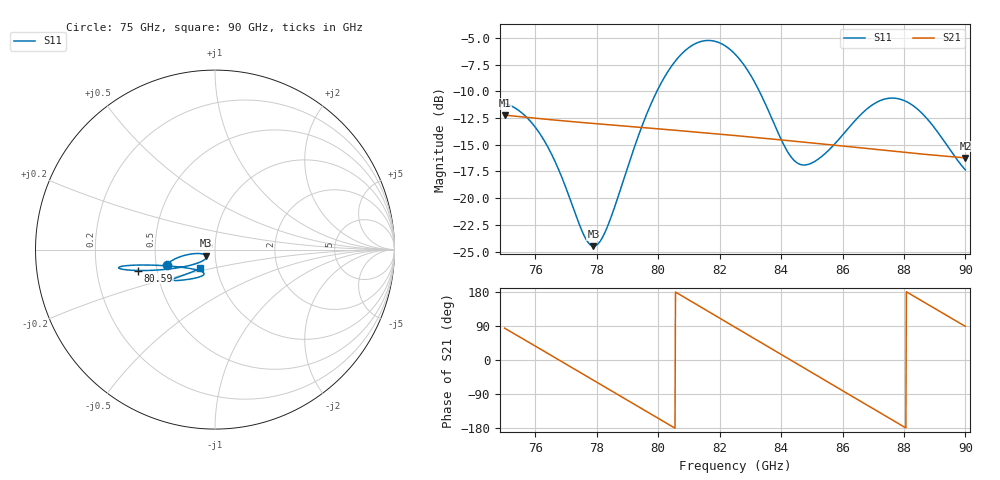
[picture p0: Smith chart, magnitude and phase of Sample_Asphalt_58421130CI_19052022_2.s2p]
!SWISSto12 MCK measurement data
!name=Sample_Asphalt_58421130CI_19052022_2
!thickness[mm]=18.000
# GHz S RI R 50.0
!freq ReS11 ImS11 ReS21 ImS21 ReS12 ImS12 ReS22 ImS22
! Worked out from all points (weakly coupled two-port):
!   961 points, 75 GHz to 90 GHz, reference 50 ohm
!   highest |S21| = -12.23 dB at 75 GHz (marker M1); lowest = -16.2 dB at 90 GHz (marker M2)
!   lowest |S11| = -24.5 dB at 77.89 GHz (marker M3), VSWR 1.13, Z = 45.2 - j3.11 ohm
!   |S11| at or under -10 dB: start of sweep to 79.96 GHz; 83.29 GHz to end of sweep
!   S12 and S22 are empty: the file has one direction only
!   S11 on the Smith chart (normalised r, x): 75 GHz: 0.57, -0.10; 80.59 GHz: 0.39, -0.11; 90 GHz: 0.82, -0.18
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75  -0.2651 -0.0833  0.0254 0.2433  0 0  0 0
75.64062  -0.2374 -0.0597  0.1416 0.1931  0 0  0 0
76.25  -0.1863 -0.0371  0.2131 0.0984  0 0  0 0
76.85938  -0.1234 -0.0233  0.2297 -0.0169  0 0  0 0
77.5  -0.0668 -0.0248  0.1859 -0.1286  0 0  0 0
77.89062  -0.0489 -0.0342  0.1337 -0.1791  0 0  0 0
78.28125  -0.0503 -0.0485  0.0688 -0.2102  0 0  0 0
78.89062  -0.0985 -0.0756  -0.0412 -0.2136  0 0  0 0
80  -0.305 -0.1127  -0.1895 -0.093  0 0  0 0
80.59375  -0.4287 -0.1164  -0.2074 0.00807  0 0  0 0
81.5625  -0.5362 -0.1026  -0.1336 0.1513  0 0  0 0
82.5  -0.4638 -0.0873  0.0115 0.196  0 0  0 0
83.48438  -0.2614 -0.0911  0.1468 0.1212  0 0  0 0
84.29688  -0.113 -0.1104  0.1855 0.00199  0 0  0 0
84.625  -0.0785 -0.1206  0.1772 -0.0478  0 0  0 0
85  -0.0616 -0.1325  0.152 -0.0989  0 0  0 0
86.21875  -0.1385 -0.1641  -0.00411 -0.174  0 0  0 0
86.90625  -0.2067 -0.1722  -0.0956 -0.1406  0 0  0 0
87.5  -0.2378 -0.1714  -0.1479 -0.077  0 0  0 0
88.51562  -0.2043 -0.1528  -0.1507 0.0573  0 0  0 0
89.29688  -0.1351 -0.1274  -0.0834 0.1336  0 0  0 0
90  -0.0863 -0.1046  0.0037 0.1544  0 0  0 0
